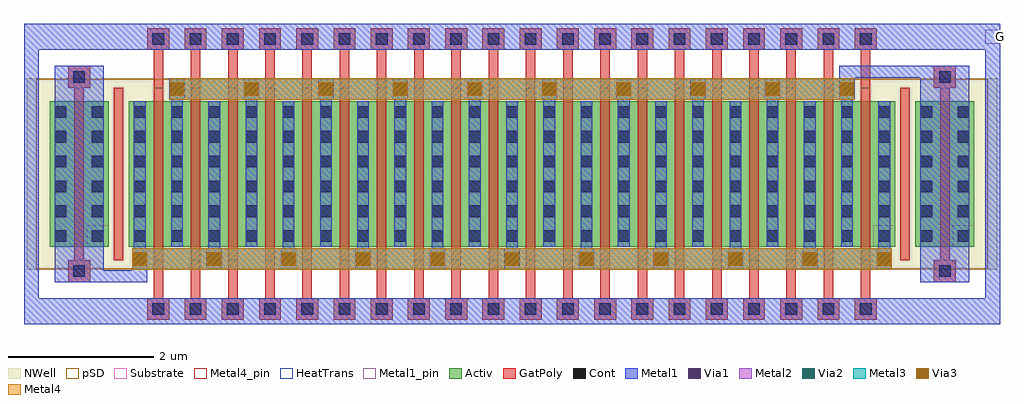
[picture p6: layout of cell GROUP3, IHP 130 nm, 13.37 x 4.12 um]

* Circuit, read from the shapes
.subckt GROUP3 G
XM1 pmos$1_priv1_0/D pmos$1_priv1_0/D pmos$1_priv1_0/D n1 sg13_lv_pmos w=2u l=0.13u
XM2 pmos$1_priv1_0/S G pmos$1_priv1_0/D n1 sg13_lv_pmos w=2u l=0.13u m=20
XM3 pmos$1_priv1_0/S pmos$1_priv1_0/S pmos$1_priv1_0/S n1 sg13_lv_pmos w=2u l=0.13u
.ends

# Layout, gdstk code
import gdstk
lib = gdstk.Library(unit=1e-6, precision=1e-09)
def R(c, l, rs):  # rectangles x0, y0, x1, y1
    for r in rs: c.add(gdstk.rectangle(r[:2], r[2:], *l))
def A(c, l, x, y, w, h, nx, ny, dx, dy):  # array of equal rectangles
    R(c, l, [(x+i*dx, y+j*dy, x+i*dx+w, y+j*dy+h) for i in range(nx) for j in range(ny)])
Activ = (1, 0)
GatPoly = (5, 0)
Cont = (6, 0)
Metal1 = (8, 0)
Metal1_pin = (8, 2)
Metal2 = (10, 0)
pSD = (14, 0)
Via1 = (19, 0)
Via2 = (29, 0)
Metal3 = (30, 0)
NWell = (31, 0)
Substrate = (40, 0)
Via3 = (49, 0)
Metal4 = (50, 0)
Metal4_pin = (50, 2)
HeatTrans = (51, 0)

pmos_1_priv1 = lib.new_cell('pmos$1_priv1')
A(pmos_1_priv1, Activ, 0, 0, 0.3, 0.3, 21, 1, 0.51, 0)
R(pmos_1_priv1, Activ, [(0,0,10.5,2)])
A(pmos_1_priv1, GatPoly, 0.255, -1, 0.3, 0.3, 20, 2, 0.51, 3.7)
A(pmos_1_priv1, GatPoly, 0.34, -0.7, 0.13, 0.52, 20, 2, 0.51, 2.88)
A(pmos_1_priv1, GatPoly, 0.34, -0.18, 0.13, 2.36, 20, 1, 0.51, 0)
R(pmos_1_priv1, GatPoly, [(0.34,-0.18,0.47,2.18)])
A(pmos_1_priv1, Cont, 0.325, -0.93, 0.16, 0.16, 20, 2, 0.51, 3.7)
A(pmos_1_priv1, Cont, 0.07, 0.07, 0.16, 0.16, 21, 6, 0.51, 0.34)
A(pmos_1_priv1, Metal1, 0.27, -1.06, 0.27, 0.36, 20, 2, 0.51, 3.76)
A(pmos_1_priv1, Metal1, 0.045, -0.31, 0.21, 0.29, 11, 1, 1.02, 0)
A(pmos_1_priv1, Metal1, 0.07, -0.035, 0.16, 0.05, 11, 1, 1.02, 0)
A(pmos_1_priv1, Metal1, 0.58, 0, 0.16, 2, 20, 1, 0.51, 0)
A(pmos_1_priv1, Metal1, 0.58, 1.985, 0.16, 0.05, 10, 1, 1.02, 0)
A(pmos_1_priv1, Metal1, 0.555, 2.02, 0.21, 0.29, 10, 1, 1.02, 0)
R(pmos_1_priv1, Metal1, [(0.07,0,0.23,2), (0.07,0,0.23,2), (0.58,0,0.74,2)])
A(pmos_1_priv1, Metal2, 0.05, -0.31, 0.2, 0.29, 11, 1, 1.02, 0)
A(pmos_1_priv1, Metal2, 0.56, 2.02, 0.2, 0.29, 10, 1, 1.02, 0)
R(pmos_1_priv1, Metal2, [(0.05,-0.31,10.45,-0.02), (0.56,2.02,9.94,2.31)])
R(pmos_1_priv1, pSD, [(-0.18,-0.3,10.68,2.3)])
A(pmos_1_priv1, Via1, 0.055, -0.26, 0.19, 0.19, 11, 1, 1.02, 0)
A(pmos_1_priv1, Via1, 0.565, 2.07, 0.19, 0.19, 10, 1, 1.02, 0)
A(pmos_1_priv1, Via2, 0.055, -0.26, 0.19, 0.19, 11, 1, 1.02, 0)
A(pmos_1_priv1, Via2, 0.565, 2.07, 0.19, 0.19, 10, 1, 1.02, 0)
A(pmos_1_priv1, Metal3, 0.05, -0.31, 0.2, 0.29, 11, 1, 1.02, 0)
A(pmos_1_priv1, Metal3, 0.56, 2.02, 0.2, 0.29, 10, 1, 1.02, 0)
R(pmos_1_priv1, Metal3, [(0.05,-0.31,10.45,-0.02), (0.56,2.02,9.94,2.31)])
R(pmos_1_priv1, NWell, [(-0.31,-0.31,10.81,2.31)])
R(pmos_1_priv1, Substrate, [(10.2,0,10.5,0.3)])
A(pmos_1_priv1, Via3, 0.055, -0.26, 0.19, 0.19, 11, 1, 1.02, 0)
A(pmos_1_priv1, Via3, 0.565, 2.07, 0.19, 0.19, 10, 1, 1.02, 0)
A(pmos_1_priv1, Metal4, 0.05, -0.31, 0.2, 0.29, 11, 1, 1.02, 0)
A(pmos_1_priv1, Metal4, 0.56, 2.02, 0.2, 0.29, 10, 1, 1.02, 0)
R(pmos_1_priv1, Metal4, [(0.05,-0.31,10.45,-0.02), (0.56,2.02,9.94,2.31)])
R(pmos_1_priv1, Metal4_pin, [(10.255,-0.26,10.445,-0.07), (9.745,2.07,9.935,2.26)])
A(pmos_1_priv1, HeatTrans, 0.34, -0.18, 0.13, 2.36, 20, 1, 0.51, 0)
pmos_1_priv1.add(gdstk.Label('pmos', (0.405,1), layer=63, texttype=0))
pmos_1_priv1.add(gdstk.Label('pmos', (0.405,1), layer=51, texttype=0))
pmos_1_priv1.add(gdstk.Label('pmos', (0.915,1), layer=51, texttype=0))
pmos_1_priv1.add(gdstk.Label('pmos', (1.425,1), layer=51, texttype=0))
pmos_1_priv1.add(gdstk.Label('pmos', (1.935,1), layer=51, texttype=0))
pmos_1_priv1.add(gdstk.Label('pmos', (2.445,1), layer=51, texttype=0))
pmos_1_priv1.add(gdstk.Label('pmos', (2.955,1), layer=51, texttype=0))
pmos_1_priv1.add(gdstk.Label('pmos', (3.465,1), layer=51, texttype=0))
pmos_1_priv1.add(gdstk.Label('pmos', (3.975,1), layer=51, texttype=0))
pmos_1_priv1.add(gdstk.Label('pmos', (4.485,1), layer=51, texttype=0))
pmos_1_priv1.add(gdstk.Label('pmos', (4.995,1), layer=51, texttype=0))
pmos_1_priv1.add(gdstk.Label('pmos', (5.505,1), layer=51, texttype=0))
pmos_1_priv1.add(gdstk.Label('pmos', (6.015,1), layer=51, texttype=0))
pmos_1_priv1.add(gdstk.Label('pmos', (6.525,1), layer=51, texttype=0))
pmos_1_priv1.add(gdstk.Label('pmos', (7.035,1), layer=51, texttype=0))
pmos_1_priv1.add(gdstk.Label('pmos', (7.545,1), layer=51, texttype=0))
pmos_1_priv1.add(gdstk.Label('pmos', (8.055,1), layer=51, texttype=0))
pmos_1_priv1.add(gdstk.Label('pmos', (8.565,1), layer=51, texttype=0))
pmos_1_priv1.add(gdstk.Label('pmos', (9.075,1), layer=51, texttype=0))
pmos_1_priv1.add(gdstk.Label('pmos', (9.585,1), layer=51, texttype=0))
pmos_1_priv1.add(gdstk.Label('pmos', (10.095,1), layer=51, texttype=0))
pmos_1_priv1.add(gdstk.Label('S', (9.84,2.165), layer=50, texttype=0))
pmos_1_priv1.add(gdstk.Label('D', (10.35,-0.165), layer=50, texttype=0))

pmos_4_priv1 = lib.new_cell('pmos$4_priv1')
R(pmos_4_priv1, Activ, [(0,0,0.3,0.3), (0,0,0.81,2), (0.51,0,0.81,0.3)])
R(pmos_4_priv1, GatPoly, [(0.255,-0.48,0.555,-0.18), (0.34,-0.18,0.47,2.18), (0.34,-0.18,0.47,2.18), (0.255,2.18,0.555,2.48)])
A(pmos_4_priv1, Cont, 0.07, 0.07, 0.16, 0.16, 1, 6, 0, 0.34)
A(pmos_4_priv1, Cont, 0.58, 0.07, 0.16, 0.16, 1, 6, 0, 0.34)
R(pmos_4_priv1, Cont, [(0.325,-0.41,0.485,-0.25), (0.325,2.25,0.485,2.41)])
R(pmos_4_priv1, Metal1, [(0.07,-0.48,0.74,2.48), (0.07,0,0.23,2), (0.07,0,0.23,2), (0.58,0,0.74,2), (0.58,0,0.74,2)])
R(pmos_4_priv1, pSD, [(-0.18,-0.3,0.99,2.3)])
R(pmos_4_priv1, NWell, [(-0.31,-0.31,1.12,2.31)])
R(pmos_4_priv1, Substrate, [(0.51,0,0.81,0.3)])
R(pmos_4_priv1, HeatTrans, [(0.34,-0.18,0.47,2.18)])
pmos_4_priv1.add(gdstk.Label('pmos', (0.405,1), layer=63, texttype=0))
pmos_4_priv1.add(gdstk.Label('pmos', (0.405,1), layer=51, texttype=0))

pmos_4_priv2 = lib.new_cell('pmos$4_priv2')
R(pmos_4_priv2, Activ, [(0,0,0.3,0.3), (0,0,0.81,2), (0.51,0,0.81,0.3)])
R(pmos_4_priv2, GatPoly, [(0.255,-0.48,0.555,-0.18), (0.34,-0.18,0.47,2.18), (0.34,-0.18,0.47,2.18), (0.255,2.18,0.555,2.48)])
A(pmos_4_priv2, Cont, 0.07, 0.07, 0.16, 0.16, 1, 6, 0, 0.34)
A(pmos_4_priv2, Cont, 0.58, 0.07, 0.16, 0.16, 1, 6, 0, 0.34)
R(pmos_4_priv2, Cont, [(0.325,-0.41,0.485,-0.25), (0.325,2.25,0.485,2.41)])
R(pmos_4_priv2, Metal1, [(0.07,-0.48,0.74,2.48), (0.07,0,0.23,2), (0.07,0,0.23,2), (0.58,0,0.74,2), (0.58,0,0.74,2)])
R(pmos_4_priv2, pSD, [(-0.18,-0.3,0.99,2.3)])
R(pmos_4_priv2, NWell, [(-0.31,-0.31,1.12,2.31)])
R(pmos_4_priv2, Substrate, [(0.51,0,0.81,0.3)])
R(pmos_4_priv2, HeatTrans, [(0.34,-0.18,0.47,2.18)])
pmos_4_priv2.add(gdstk.Label('pmos', (0.405,1), layer=63, texttype=0))
pmos_4_priv2.add(gdstk.Label('pmos', (0.405,1), layer=51, texttype=0))

group3 = lib.new_cell('GROUP3')
R(group3, GatPoly, [(72.695,190.94,72.825,193.3), (83.47,190.94,83.6,193.3)])
R(group3, Metal1, [(71.465,190.06,84.835,190.42), (71.465,190.06,71.665,194.18), (84.635,190.06,84.835,194.18), (72.555,190.64,73.155,190.8), (72.945,190.8,73.155,191.1), (82.635,193.14,82.845,193.44), (82.635,193.44,83.745,193.6), (71.465,193.82,84.835,194.18)])
R(group3, Metal1_pin, [(84.635,193.905,84.835,194.095)])
group3.add(gdstk.Reference(pmos_1_priv1, (72.9,191.12)))
group3.add(gdstk.Reference(pmos_4_priv1, (83.675,191.12)))
group3.add(gdstk.Reference(pmos_4_priv2, (71.815,191.12)))
group3.add(gdstk.Label('G', (84.835,194), layer=8, texttype=0))

lib.write_gds('GROUP3.gds')
